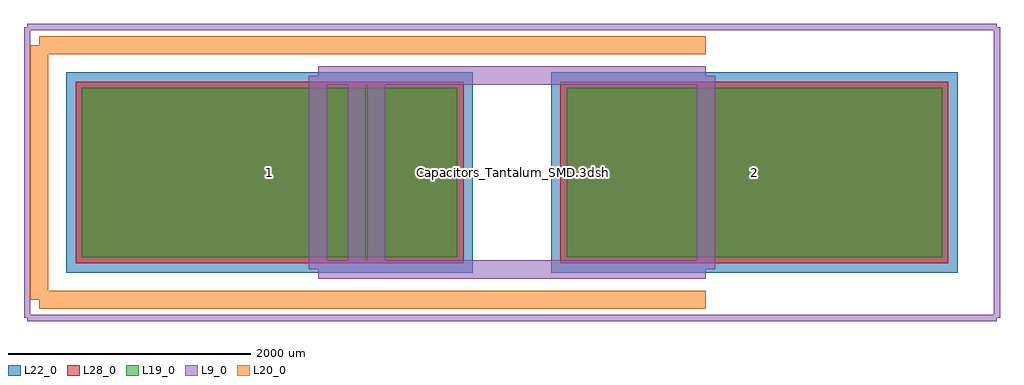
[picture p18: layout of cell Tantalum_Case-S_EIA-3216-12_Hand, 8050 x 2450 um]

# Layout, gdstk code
import gdstk
lib = gdstk.Library(unit=1e-6, precision=1e-09)
def R(c, l, rs):  # rectangles x0, y0, x1, y1
    for r in rs: c.add(gdstk.rectangle(r[:2], r[2:], *l))
L9_0 = (9, 0)
L19_0 = (19, 0)
L20_0 = (20, 0)
L22_0 = (22, 0)
L28_0 = (28, 0)

tantalum_case_s_eia_3216 = lib.new_cell('Tantalum_Case-S_EIA-3216-12_Hand')
R(tantalum_case_s_eia_3216, L19_0, [(-3550,-700,-450,700), (450,-700,3550,700)])
R(tantalum_case_s_eia_3216, L22_0, [(-3675,-825,-325,825), (325,-825,3675,825)])
R(tantalum_case_s_eia_3216, L28_0, [(-3600,-750,-400,750), (400,-750,3600,750)])
tantalum_case_s_eia_3216.add(gdstk.FlexPath([(-3900,1050),(-3900,-1050)], 149.998, ends="flush", simple_path=True, layer=20, datatype=0))  # L20_0
tantalum_case_s_eia_3216.add(gdstk.FlexPath([(-3900,-1050),(1600,-1050)], 149.998, ends="flush", simple_path=True, layer=20, datatype=0))  # L20_0
tantalum_case_s_eia_3216.add(gdstk.FlexPath([(-3900,1050),(1600,1050)], 149.998, ends="flush", simple_path=True, layer=20, datatype=0))  # L20_0
tantalum_case_s_eia_3216.add(gdstk.FlexPath([(-1120,800),(-1120,-800)], 149.998, ends="flush", simple_path=True, layer=9, datatype=0))  # L9_0
tantalum_case_s_eia_3216.add(gdstk.FlexPath([(-1280,800),(-1280,-800)], 149.998, ends="flush", simple_path=True, layer=9, datatype=0))  # L9_0
tantalum_case_s_eia_3216.add(gdstk.FlexPath([(1600,800),(-1600,800)], 149.998, ends="flush", simple_path=True, layer=9, datatype=0))  # L9_0
tantalum_case_s_eia_3216.add(gdstk.FlexPath([(1600,-800),(1600,800)], 149.998, ends="flush", simple_path=True, layer=9, datatype=0))  # L9_0
tantalum_case_s_eia_3216.add(gdstk.FlexPath([(-1600,-800),(1600,-800)], 149.998, ends="flush", simple_path=True, layer=9, datatype=0))  # L9_0
tantalum_case_s_eia_3216.add(gdstk.FlexPath([(-1600,800),(-1600,-800)], 149.998, ends="flush", simple_path=True, layer=9, datatype=0))  # L9_0
tantalum_case_s_eia_3216.add(gdstk.FlexPath([(4000,1200),(-4000,1200)], 50, ends="flush", simple_path=True, layer=9, datatype=0))  # L9_0
tantalum_case_s_eia_3216.add(gdstk.FlexPath([(4000,-1200),(4000,1200)], 50, ends="flush", simple_path=True, layer=9, datatype=0))  # L9_0
tantalum_case_s_eia_3216.add(gdstk.FlexPath([(-4000,-1200),(4000,-1200)], 50, ends="flush", simple_path=True, layer=9, datatype=0))  # L9_0
tantalum_case_s_eia_3216.add(gdstk.FlexPath([(-4000,1200),(-4000,-1200)], 50, ends="flush", simple_path=True, layer=9, datatype=0))  # L9_0
tantalum_case_s_eia_3216.add(gdstk.Label('Capacitors_Tantalum_SMD.3dshapes/Tantalum_Case-S_EIA-3216-12.wrl', (0,0), layer=12, texttype=0))
tantalum_case_s_eia_3216.add(gdstk.Label('2', (2000,0), layer=28, texttype=0))
tantalum_case_s_eia_3216.add(gdstk.Label('1', (-2000,0), layer=28, texttype=0))
tantalum_case_s_eia_3216.add(gdstk.Label('type', (0,-2550), layer=9, texttype=0))
tantalum_case_s_eia_3216.add(gdstk.Label('devicename', (0,2550), layer=9, texttype=0))

lib.write_gds('Tantalum_Case-S_EIA-3216-12_Hand.gds')
